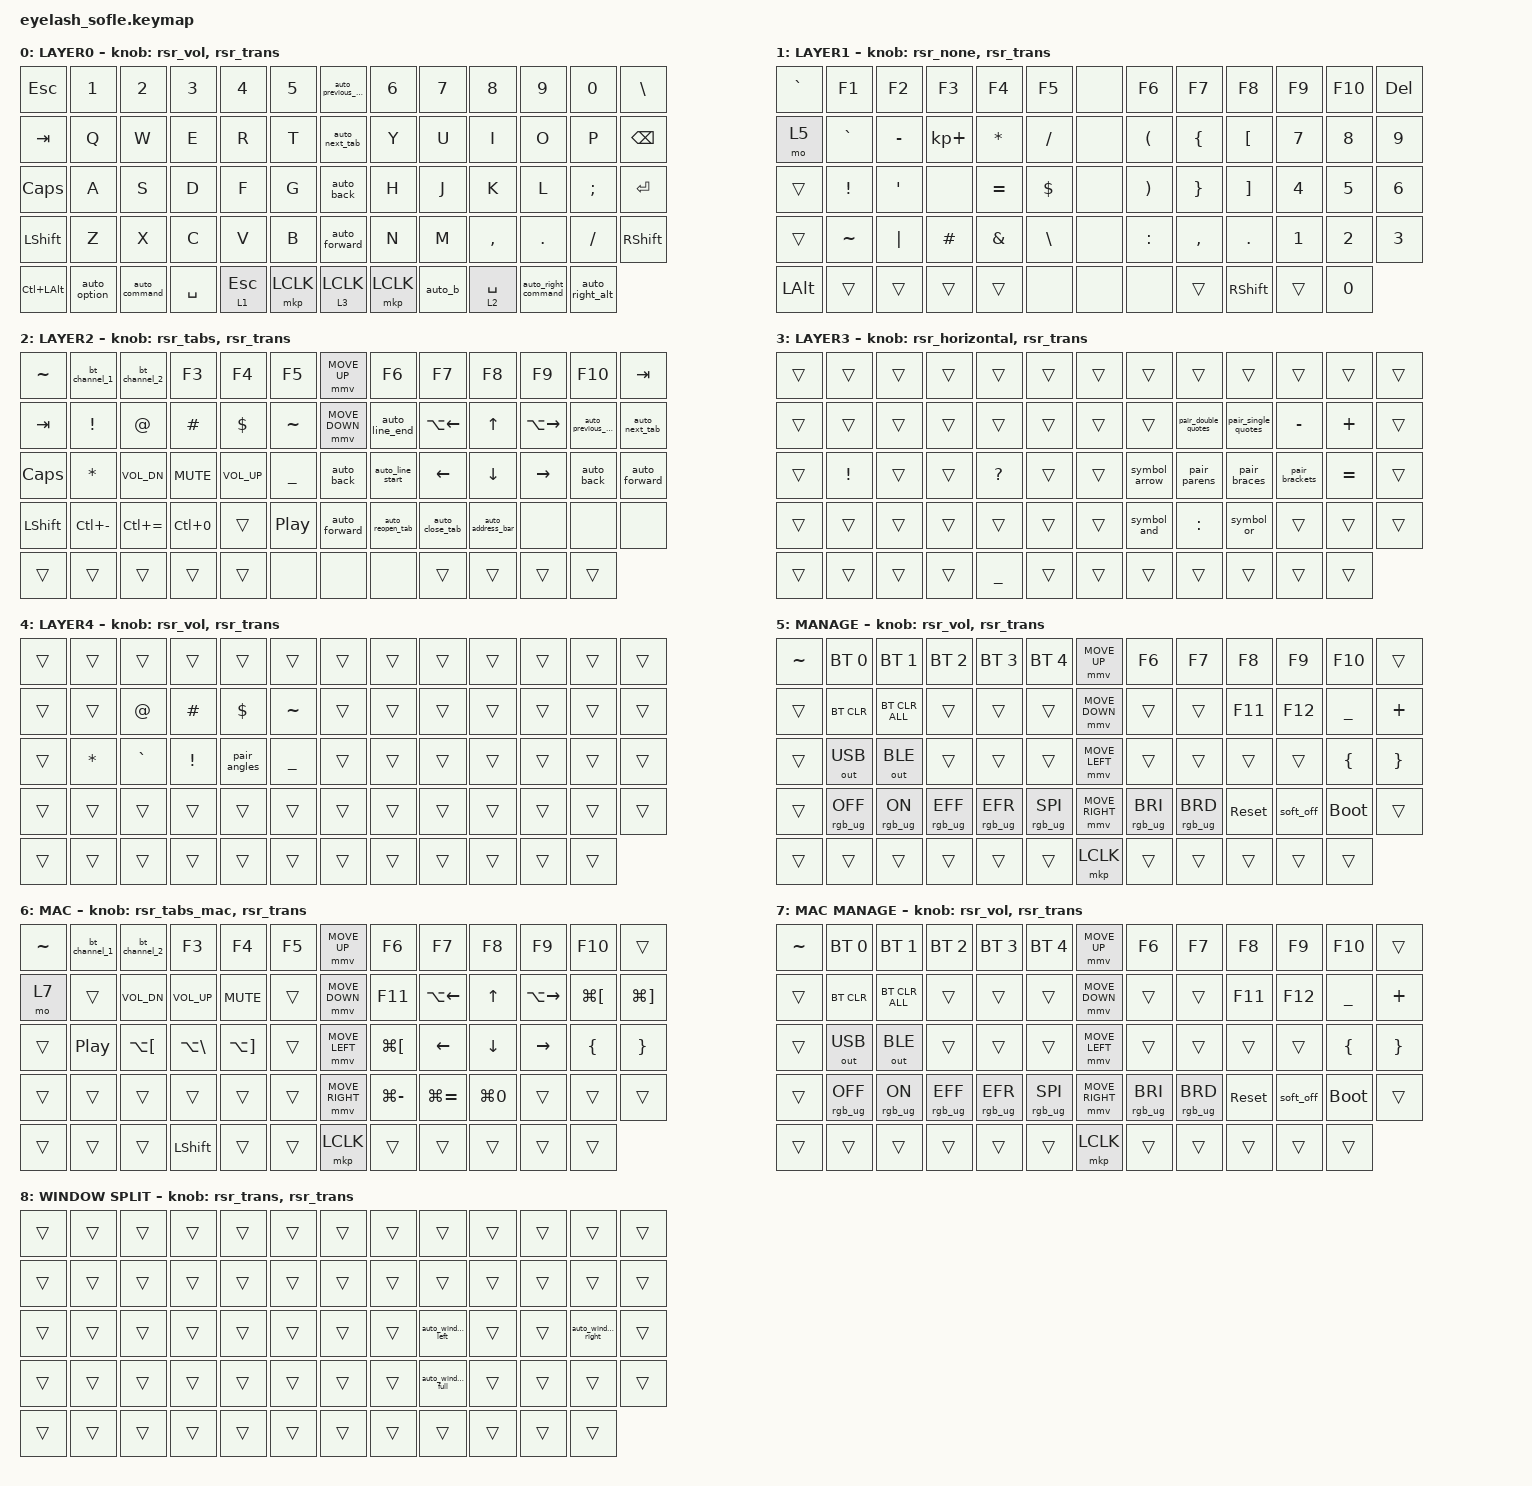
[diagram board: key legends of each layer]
#define ZMK_POINTING_DEFAULT_MOVE_VAL 1200  // 600
#define ZMK_POINTING_DEFAULT_SCRL_VAL 25   // 10

#include <input/processors.dtsi>
#include <zephyr/dt-bindings/input/input-event-codes.h>
#include <behaviors.dtsi>
#include <behaviors/runtime-sensor-rotate.dtsi>
#include <dt-bindings/zmk/bt.h>
#include <dt-bindings/zmk/keys.h>
#include <dt-bindings/zmk/outputs.h>
#include <dt-bindings/zmk/pointing.h>
#include <dt-bindings/zmk/rgb.h>

&mmv_input_listener { input-processors = <&zip_xy_scaler 2 1>; };

&msc_input_listener { input-processors = <&zip_scroll_scaler 2 1>; };

&msc {
    acceleration-exponent = <1>;      // 0
    time-to-max-speed-ms = <50>;       // 300
    delay-ms = <0>;                   // 0
};

&mmv {
    time-to-max-speed-ms = <500>;
    acceleration-exponent = <1>;
    trigger-period-ms = <16>;
};

&soft_off { hold-time-ms = <2000>; };

&lt {
    flavor = "hold-preferred";
    tapping-term-ms = <150>;
};

/ {
    scroll_encoder: scroll_encoder {
        compatible = "zmk,behavior-sensor-rotate";
        #sensor-binding-cells = <0>;
        bindings = <&msc SCRL_DOWN>, <&msc SCRL_UP>;

        tap-ms = <100>;
    };

    behaviors {
        auto_option: auto_option {
            compatible = "zmk,behavior-profile-modifier";
            #binding-cells = <0>;
            windows-profile = <1>;
            bindings = <&kp LEFT_ALT>, <&kp LEFT_GUI>;
            display-name = "Auto Option / Win";
        };

        auto_command: auto_command {
            compatible = "zmk,behavior-profile-modifier";
            #binding-cells = <0>;
            windows-profile = <1>;
            bindings = <&kp LEFT_GUI>, <&kp LEFT_ALT>;
            display-name = "Auto Command / Alt";
        };

        // Windows host remaps raw RAlt/SC138 to Ctrl and LGUI to ordinary LAlt.
        auto_space: auto_space {
            compatible = "zmk,behavior-profile-modifier";
            #binding-cells = <0>;
            windows-profile = <1>;
            bindings = <&mt RIGHT_GUI SPACE>, <&mt RIGHT_ALT SPACE>;
            display-name = "Auto Space / Cmd-Ctrl";
        };

        space_shift: space_shift {
            compatible = "zmk,behavior-hold-tap";
            #binding-cells = <2>;
            flavor = "tap-preferred";
            tapping-term-ms = <200>;
            bindings = <&kp>, <&kp>;
            display-name = "Space / Shift";
        };

        space_fn2: space_fn2 {
            compatible = "zmk,behavior-hold-tap";
            #binding-cells = <2>;
            flavor = "tap-preferred";
            tapping-term-ms = <150>;
            bindings = <&mo>, <&kp>;
            display-name = "Space / Fn2";
        };

        auto_right_command: auto_right_command {
            compatible = "zmk,behavior-profile-modifier";
            #binding-cells = <0>;
            windows-profile = <1>;
            bindings = <&kp RIGHT_GUI>, <&kp RIGHT_ALT>;
            display-name = "Auto Right Command / Ctrl";
        };

        auto_right_alt: auto_right_alt {
            compatible = "zmk,behavior-profile-modifier";
            #binding-cells = <0>;
            windows-profile = <1>;
            bindings = <&kp RIGHT_ALT>, <&kp LEFT_GUI>;
            display-name = "Auto Right Alt / Alt";
        };

        auto_b: auto_b {
            compatible = "zmk,behavior-profile-modifier";
            #binding-cells = <0>;
            windows-profile = <1>;
            bindings = <&mt LCTRL B>, <&mt LEFT_ALT B>;
            display-name = "Auto B / Ctrl";
        };

        auto_back: auto_back {
            compatible = "zmk,behavior-profile-modifier";
            #binding-cells = <0>;
            windows-profile = <1>;
            bindings = <&kp LG(LEFT_BRACKET)>, <&kp C_AC_BACK>;
            display-name = "Auto Back";
        };

        auto_forward: auto_forward {
            compatible = "zmk,behavior-profile-modifier";
            #binding-cells = <0>;
            windows-profile = <1>;
            bindings = <&kp LG(RIGHT_BRACKET)>, <&kp C_AC_FORWARD>;
            display-name = "Auto Forward";
        };

        // This Windows host maps raw Left Alt to Ctrl.
        auto_previous_tab: auto_previous_tab {
            compatible = "zmk,behavior-profile-modifier";
            #binding-cells = <0>;
            windows-profile = <1>;
            bindings = <&kp LG(LS(LEFT_BRACKET))>, <&kp LA(PG_UP)>;
            display-name = "Auto Previous Tab";
        };

        auto_next_tab: auto_next_tab {
            compatible = "zmk,behavior-profile-modifier";
            #binding-cells = <0>;
            windows-profile = <1>;
            bindings = <&kp LG(LS(RIGHT_BRACKET))>, <&kp LA(PG_DN)>;
            display-name = "Auto Next Tab";
        };

        auto_reopen_tab: auto_reopen_tab {
            compatible = "zmk,behavior-profile-modifier";
            #binding-cells = <0>;
            windows-profile = <1>;
            bindings = <&kp LG(LS(T))>, <&kp LA(LS(T))>;
            display-name = "Auto Reopen Tab";
        };

        auto_close_tab: auto_close_tab {
            compatible = "zmk,behavior-profile-modifier";
            #binding-cells = <0>;
            windows-profile = <1>;
            bindings = <&kp LG(W)>, <&kp LA(W)>;
            display-name = "Auto Close Tab";
        };

        auto_address_bar: auto_address_bar {
            compatible = "zmk,behavior-profile-modifier";
            #binding-cells = <0>;
            windows-profile = <1>;
            bindings = <&kp LG(L)>, <&kp LA(L)>;
            display-name = "Auto Address Bar";
        };

        auto_line_start: auto_line_start {
            compatible = "zmk,behavior-profile-modifier";
            #binding-cells = <0>;
            windows-profile = <1>;
            bindings = <&kp LG(LEFT)>, <&kp HOME>;
            display-name = "Auto Line Start";
        };

        auto_line_end: auto_line_end {
            compatible = "zmk,behavior-profile-modifier";
            #binding-cells = <0>;
            windows-profile = <1>;
            bindings = <&kp LG(RIGHT)>, <&kp END>;
            display-name = "Auto Line End";
        };

        auto_window_left: auto_window_left {
            compatible = "zmk,behavior-profile-modifier";
            #binding-cells = <0>;
            windows-profile = <1>;
            bindings = <&kp LA(LEFT_BRACKET)>, <&kp LC(LEFT)>;
            display-name = "Auto Window Left";
        };

        auto_window_right: auto_window_right {
            compatible = "zmk,behavior-profile-modifier";
            #binding-cells = <0>;
            windows-profile = <1>;
            bindings = <&kp LA(RIGHT_BRACKET)>, <&kp LC(RIGHT)>;
            display-name = "Auto Window Right";
        };

        auto_window_full: auto_window_full {
            compatible = "zmk,behavior-profile-modifier";
            #binding-cells = <0>;
            windows-profile = <1>;
            bindings = <&kp LA(BSLH)>, <&kp LC(UP)>;
            display-name = "Auto Window Full";
        };

        layer_click: layer_click {
            compatible = "zmk,behavior-hold-tap";
            #binding-cells = <2>;
            flavor = "tap-preferred";
            tapping-term-ms = <200>;
            bindings = <&mo>, <&mkp>;
            display-name = "Layer Click";
        };

        rate_scroll: rate_scroll {
            compatible = "zmk,behavior-rate-scroll";
            #binding-cells = <1>;
            scroll-behavior = <&msc>;
            pulse-ms = <100>;
            display-name = "Rate Scroll";
        };

        rsr_vol: rsr_vol {
            compatible = "zmk,behavior-runtime-sensor-rotate";
            #sensor-binding-cells = <0>;
            tap-ms = <0>;
            cw-binding = <&rate_scroll MOVE_Y(-20)>;
            ccw-binding = <&rate_scroll MOVE_Y(20)>;
        };

        rsr_none: rsr_none {
            compatible = "zmk,behavior-runtime-sensor-rotate";
            #sensor-binding-cells = <0>;
            tap-ms = <0>;
            cw-binding = <&none>;
            ccw-binding = <&none>;
        };

        rsr_horizontal: rsr_horizontal {
            compatible = "zmk,behavior-runtime-sensor-rotate";
            #sensor-binding-cells = <0>;
            tap-ms = <100>;
            cw-binding = <&msc MOVE_X(40)>;
            ccw-binding = <&msc MOVE_X(-40)>;
        };

        rsr_tabs: rsr_tabs {
            compatible = "zmk,behavior-runtime-sensor-rotate";
            #sensor-binding-cells = <0>;
            tap-ms = <100>;
            cw-binding = <&auto_next_tab>;
            ccw-binding = <&auto_previous_tab>;
        };

        rsr_tabs_mac: rsr_tabs_mac {
            compatible = "zmk,behavior-runtime-sensor-rotate";
            #sensor-binding-cells = <0>;
            tap-ms = <100>;
            cw-binding = <&kp LG(LS(RIGHT_BRACKET))>;
            ccw-binding = <&kp LG(LS(LEFT_BRACKET))>;
        };

        rsr_trans: rsr_trans {
            compatible = "zmk,behavior-runtime-sensor-rotate";
            #sensor-binding-cells = <0>;
            tap-ms = <0>;
        };
    };

    combos {
        compatible = "zmk,combos";

        // Keep Fn1 Tab management access reachable even with a saved runtime keymap.
        combo_fn1_manage {
            timeout-ms = <50>;
            key-positions = <13>;
            bindings = <&mo 5>;
            layers = <1>;
        };
        combo_sd_symbols {
            timeout-ms = <50>;
            key-positions = <28 29>;
            bindings = <&mo 3>;
            layers = <0>;
        };
        combo_jn_symbols {
            timeout-ms = <50>;
            key-positions = <34 46>;
            bindings = <&mo 4>;
            layers = <0>;
        };
        combo_kl_option {
            timeout-ms = <50>;
            key-positions = <35 36>;
            bindings = <&mo 8>;
            layers = <0>;
        };
        combo_df_command {
            timeout-ms = <50>;
            key-positions = <29 30>;
            bindings = <&kp RIGHT_GUI>;
            layers = <0>;
        };
        combo_jk_delete_word {
            timeout-ms = <50>;
            key-positions = <34 35>;
            bindings = <&delete_word>;
            layers = <0>;
        };
        combo_jl_delete_line {
            timeout-ms = <50>;
            key-positions = <34 36>;
            bindings = <&delete_line>;
            layers = <0>;
        };
        combo_zx_caps_lock {
            timeout-ms = <50>;
            key-positions = <40 41>;
            bindings = <&kp CAPS>;
            layers = <0>;
        };
        combo_xc_escape {
            timeout-ms = <30>;
            key-positions = <41 42>;
            bindings = <&kp ESC>;
            layers = <0>;
        };
        combo_paste_style {
            timeout-ms = <50>;
            key-positions = <37 38>;
            bindings = <&kp LG(LS(V))>;
            layers = <0>;
        };
        combo_qw_escape {
            timeout-ms = <30>;
            key-positions = <14 15>;
            bindings = <&kp ESC>;
            layers = <0>;
        };
        combo_comma_dot_enter {
            timeout-ms = <50>;
            key-positions = <48 49>;
            bindings = <&kp ENTER>;
            layers = <0>;
        };

        softoff {
            bindings = <&soft_off>;
            key-positions = <14 28 40>;
        };
    };

    macros {
        bt_channel_1: bt_channel_1 {
            compatible = "zmk,behavior-macro";
            #binding-cells = <0>;
            tap-ms = <0>;
            wait-ms = <0>;
            bindings = <&bt BT_SEL 0 &out OUT_BLE>;
            display-name = "Bluetooth 1 (Mac)";
        };
        bt_channel_2: bt_channel_2 {
            compatible = "zmk,behavior-macro";
            #binding-cells = <0>;
            tap-ms = <0>;
            wait-ms = <0>;
            bindings = <&bt BT_SEL 1 &out OUT_BLE>;
            display-name = "Bluetooth 2 (Windows)";
        };

        pair_parens: pair_parens {
            compatible = "zmk,behavior-macro";
            #binding-cells = <0>;
            tap-ms = <40>;
            wait-ms = <40>;
            bindings = <&kp LPAR &kp RPAR &kp LEFT>;
        };
        pair_braces: pair_braces {
            compatible = "zmk,behavior-macro";
            #binding-cells = <0>;
            tap-ms = <40>;
            wait-ms = <40>;
            bindings = <&kp LBRC &kp RBRC &kp LEFT>;
        };
        pair_brackets: pair_brackets {
            compatible = "zmk,behavior-macro";
            #binding-cells = <0>;
            tap-ms = <40>;
            wait-ms = <40>;
            bindings = <&kp LBKT &kp RBKT &kp LEFT>;
        };
        pair_double_quotes: pair_double_quotes {
            compatible = "zmk,behavior-macro";
            #binding-cells = <0>;
            tap-ms = <40>;
            wait-ms = <40>;
            bindings = <&kp DQT &kp DQT &kp LEFT>;
        };
        pair_single_quotes: pair_single_quotes {
            compatible = "zmk,behavior-macro";
            #binding-cells = <0>;
            tap-ms = <40>;
            wait-ms = <40>;
            bindings = <&kp APOS &kp APOS &kp LEFT>;
        };
        pair_angles: pair_angles {
            compatible = "zmk,behavior-macro";
            #binding-cells = <0>;
            tap-ms = <40>;
            wait-ms = <40>;
            bindings = <&kp LT &kp GT &kp LEFT>;
        };
        delete_word: delete_word {
            compatible = "zmk,behavior-macro";
            #binding-cells = <0>;
            tap-ms = <40>;
            wait-ms = <40>;
            bindings = <&kp LA(LEFT) &kp LA(LS(RIGHT)) &kp BACKSPACE>;
        };
        delete_line: delete_line {
            compatible = "zmk,behavior-macro";
            #binding-cells = <0>;
            tap-ms = <40>;
            wait-ms = <40>;
            bindings = <&kp LG(LEFT) &kp LG(LEFT) &kp LS(DOWN) &kp BACKSPACE>;
        };
        symbol_arrow: symbol_arrow {
            compatible = "zmk,behavior-macro";
            #binding-cells = <0>;
            tap-ms = <40>;
            wait-ms = <40>;
            bindings = <&kp EQUAL &kp GT>;
        };
        symbol_and: symbol_and {
            compatible = "zmk,behavior-macro";
            #binding-cells = <0>;
            tap-ms = <40>;
            wait-ms = <40>;
            bindings = <&kp AMPERSAND &kp AMPERSAND>;
        };
        symbol_or: symbol_or {
            compatible = "zmk,behavior-macro";
            #binding-cells = <0>;
            tap-ms = <40>;
            wait-ms = <40>;
            bindings = <&kp PIPE &kp PIPE>;
        };

        SHIFT_MCLK: SHIFT_MCLK {
            compatible = "zmk,behavior-macro";
            #binding-cells = <0>;
            bindings =
                <&macro_press>,
                <&kp LEFT_SHIFT>,
                <&macro_press>,
                <&mkp MB3>,
                <&macro_pause_for_release>,
                <&macro_release>,
                <&kp LEFT_SHIFT &mkp MB3>;

            label = "SHIFT_MCLK";
        };
    };

    keymap {
        compatible = "zmk,keymap";

        layer0 {
            bindings = <
&kp ESC  &kp N1  &kp N2  &kp N3  &kp N4  &kp N5  &auto_previous_tab  &kp N6  &kp N7  &kp N8  &kp N9  &kp N0  &kp BSLH
&kp TAB  &kp Q  &kp W  &kp E  &kp R  &kp T  &auto_next_tab  &kp Y  &kp U  &kp I  &kp O  &kp P  &kp BACKSPACE
&kp CAPS  &kp A  &kp S  &kp D  &kp F  &kp G  &auto_back  &kp H  &kp J  &kp K  &kp L  &kp SEMI  &kp ENTER
&kp LSHFT  &kp Z  &kp X  &kp C  &kp V  &kp B  &auto_forward  &kp N  &kp M  &kp COMMA  &kp DOT  &kp FSLH  &kp RIGHT_SHIFT
&kp LC(LEFT_ALT)  &auto_option  &auto_command  &kp SPACE  &lt 1 ESC  &mkp LCLK  &layer_click 3 LCLK  &mkp LCLK  &auto_b  &space_fn2 2 SPACE  &auto_right_command  &auto_right_alt
            >;

            sensor-bindings = <&rsr_vol &rsr_trans>;
            display-name = "LAYER0";
        };

        layer_1 {
            bindings = <
&kp GRAVE  &kp F1  &kp F2  &kp F3  &kp F4  &kp F5  &none  &kp F6  &kp F7  &kp F8  &kp F9  &kp F10  &kp DELETE
&mo 5  &kp GRAVE  &kp MINUS  &kp KP_PLUS  &kp STAR  &kp FSLH  &none  &kp LPAR  &kp LBRC  &kp LBKT  &kp N7  &kp N8  &kp N9
&trans  &kp EXCL  &kp APOS  &none  &kp EQUAL  &kp DLLR  &none  &kp RPAR  &kp RBRC  &kp RBKT  &kp N4  &kp N5  &kp N6
&trans  &kp TILDE  &kp PIPE  &kp HASH  &kp AMPS  &kp BSLH  &none  &kp COLON  &kp COMMA  &kp DOT  &kp N1  &kp N2  &kp N3
&kp LEFT_ALT  &trans  &trans  &trans  &trans  &none  &none  &none  &trans  &kp RIGHT_SHIFT  &trans  &kp N0
            >;

            sensor-bindings = <&rsr_none &rsr_trans>;
            display-name = "LAYER1";
        };

        layer_2 {
            bindings = <
&kp TILDE  &bt_channel_1  &bt_channel_2  &kp F3  &kp F4  &kp F5  &mmv MOVE_UP  &kp F6  &kp F7  &kp F8  &kp F9  &kp F10  &kp TAB
&kp TAB  &kp EXCL  &kp AT  &kp HASH  &kp DLLR  &kp TILDE  &mmv MOVE_DOWN  &auto_line_end  &kp LA(LEFT)  &kp UP  &kp LA(RIGHT)  &auto_previous_tab  &auto_next_tab
&kp CAPS  &kp STAR  &kp C_VOL_DN  &kp C_MUTE  &kp C_VOL_UP  &kp UNDER  &auto_back  &auto_line_start  &kp LEFT  &kp DOWN  &kp RIGHT  &auto_back  &auto_forward
&kp LSHFT  &kp LC(MINUS)  &kp LC(EQUAL)  &kp LC(N0)  &trans  &kp C_PLAY_PAUSE  &auto_forward  &auto_reopen_tab  &auto_close_tab  &auto_address_bar  &none  &none  &none
&trans  &trans  &trans  &trans  &trans  &none  &none  &none  &trans  &trans  &trans  &trans
            >;

            display-name = "LAYER2";
            sensor-bindings = <&rsr_tabs &rsr_trans>;
        };

        layer_3 {
            bindings = <
&trans  &trans  &trans  &trans  &trans  &trans  &trans  &trans  &trans  &trans  &trans  &trans  &trans
&trans  &trans  &trans  &trans  &trans  &trans  &trans  &trans  &pair_double_quotes  &pair_single_quotes  &kp MINUS  &kp PLUS  &trans
&trans  &kp EXCL  &trans  &trans  &kp QMARK  &trans  &trans  &symbol_arrow  &pair_parens  &pair_braces  &pair_brackets  &kp EQUAL  &trans
&trans  &trans  &trans  &trans  &trans  &trans  &trans  &symbol_and  &kp COLON  &symbol_or  &trans  &trans  &trans
&trans  &trans  &trans  &trans  &kp UNDER  &trans  &trans  &trans  &trans  &trans  &trans  &trans
            >;

            display-name = "LAYER3";
            sensor-bindings = <&rsr_horizontal &rsr_trans>;
        };

        layer_4 {
            bindings = <
&trans  &trans  &trans  &trans  &trans  &trans  &trans  &trans  &trans  &trans  &trans  &trans  &trans
&trans  &trans  &kp AT  &kp HASH  &kp DLLR  &kp TILDE  &trans  &trans  &trans  &trans  &trans  &trans  &trans
&trans  &kp STAR  &kp GRAVE  &kp EXCL  &pair_angles  &kp UNDER  &trans  &trans  &trans  &trans  &trans  &trans  &trans
&trans  &trans  &trans  &trans  &trans  &trans  &trans  &trans  &trans  &trans  &trans  &trans  &trans
&trans  &trans  &trans  &trans  &trans  &trans  &trans  &trans  &trans  &trans  &trans  &trans
            >;

            display-name = "LAYER4";
            sensor-bindings = <&rsr_vol &rsr_trans>;
        };
        layer_5 {
            bindings = <
&kp TILDE  &bt BT_SEL 0  &bt BT_SEL 1  &bt BT_SEL 2  &bt BT_SEL 3  &bt BT_SEL 4  &mmv MOVE_UP  &kp F6  &kp F7  &kp F8  &kp F9  &kp F10  &trans
&trans  &bt BT_CLR  &bt BT_CLR_ALL  &trans  &trans  &trans  &mmv MOVE_DOWN  &trans  &trans  &kp F11  &kp F12  &kp UNDER  &kp PLUS
&trans  &out OUT_USB  &out OUT_BLE  &trans  &trans  &trans  &mmv MOVE_LEFT  &trans  &trans  &trans  &trans  &kp LBRC  &kp RBRC
&trans  &rgb_ug RGB_OFF  &rgb_ug RGB_ON  &rgb_ug RGB_EFF  &rgb_ug RGB_EFR  &rgb_ug RGB_SPI  &mmv MOVE_RIGHT  &rgb_ug RGB_BRI  &rgb_ug RGB_BRD  &sys_reset  &soft_off  &bootloader  &trans
&trans  &trans  &trans  &trans  &trans  &trans  &mkp LCLK  &trans  &trans  &trans  &trans  &trans
            >;

            display-name = "MANAGE";
            sensor-bindings = <&rsr_vol &rsr_trans>;
        };

        layer_6 {
            bindings = <
&kp TILDE  &bt_channel_1  &bt_channel_2  &kp F3  &kp F4  &kp F5  &mmv MOVE_UP  &kp F6  &kp F7  &kp F8  &kp F9  &kp F10  &trans
&mo 7  &trans  &kp C_VOL_DN  &kp C_VOL_UP  &kp C_MUTE  &trans  &mmv MOVE_DOWN  &kp F11  &kp LA(LEFT)  &kp UP  &kp LA(RIGHT)  &kp LG(LEFT_BRACKET)  &kp LG(RIGHT_BRACKET)
&trans  &kp C_PLAY_PAUSE  &kp LA(LEFT_BRACKET)  &kp LA(BSLH)  &kp LA(RIGHT_BRACKET)  &trans  &mmv MOVE_LEFT  &kp LG(LEFT_BRACKET)  &kp LEFT  &kp DOWN  &kp RIGHT  &kp LBRC  &kp RBRC
&trans  &trans  &trans  &trans  &trans  &trans  &mmv MOVE_RIGHT  &kp LG(MINUS)  &kp LG(EQUAL)  &kp LG(N0)  &trans  &trans  &trans
&trans  &trans  &trans  &kp LEFT_SHIFT  &trans  &trans  &mkp LCLK  &trans  &trans  &trans  &trans  &trans
            >;

            display-name = "MAC";
            sensor-bindings = <&rsr_tabs_mac &rsr_trans>;
        };

        layer_7 {
            bindings = <
&kp TILDE  &bt BT_SEL 0  &bt BT_SEL 1  &bt BT_SEL 2  &bt BT_SEL 3  &bt BT_SEL 4  &mmv MOVE_UP  &kp F6  &kp F7  &kp F8  &kp F9  &kp F10  &trans
&trans  &bt BT_CLR  &bt BT_CLR_ALL  &trans  &trans  &trans  &mmv MOVE_DOWN  &trans  &trans  &kp F11  &kp F12  &kp UNDER  &kp PLUS
&trans  &out OUT_USB  &out OUT_BLE  &trans  &trans  &trans  &mmv MOVE_LEFT  &trans  &trans  &trans  &trans  &kp LBRC  &kp RBRC
&trans  &rgb_ug RGB_OFF  &rgb_ug RGB_ON  &rgb_ug RGB_EFF  &rgb_ug RGB_EFR  &rgb_ug RGB_SPI  &mmv MOVE_RIGHT  &rgb_ug RGB_BRI  &rgb_ug RGB_BRD  &sys_reset  &soft_off  &bootloader  &trans
&trans  &trans  &trans  &trans  &trans  &trans  &mkp LCLK  &trans  &trans  &trans  &trans  &trans
            >;

            display-name = "MAC MANAGE";
            sensor-bindings = <&rsr_vol &rsr_trans>;
        };

        layer_8 {
            bindings = <
&trans  &trans  &trans  &trans  &trans  &trans  &trans  &trans  &trans  &trans  &trans  &trans  &trans
&trans  &trans  &trans  &trans  &trans  &trans  &trans  &trans  &trans  &trans  &trans  &trans  &trans
&trans  &trans  &trans  &trans  &trans  &trans  &trans  &trans  &auto_window_left  &trans  &trans  &auto_window_right  &trans
&trans  &trans  &trans  &trans  &trans  &trans  &trans  &trans  &auto_window_full  &trans  &trans  &trans  &trans
&trans  &trans  &trans  &trans  &trans  &trans  &trans  &trans  &trans  &trans  &trans  &trans
            >;

            display-name = "WINDOW SPLIT";
            sensor-bindings = <&rsr_trans &rsr_trans>;
        };
    };
};
